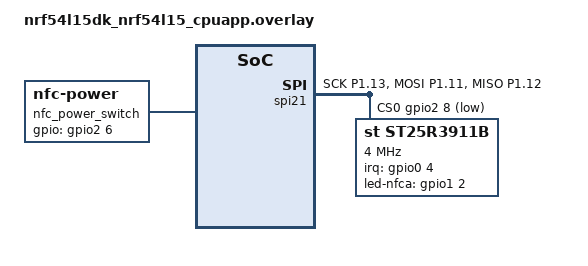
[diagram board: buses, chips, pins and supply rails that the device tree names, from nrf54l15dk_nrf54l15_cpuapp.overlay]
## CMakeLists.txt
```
#
# Copyright (c) 2025 Nordic Semiconductor ASA
#
# SPDX-License-Identifier: LicenseRef-Nordic-5-Clause
#

cmake_minimum_required(VERSION 3.20.0)

find_package(Zephyr REQUIRED HINTS $ENV{ZEPHYR_BASE})
project(door-lock-app)

list(APPEND CMAKE_MODULE_PATH ${CMAKE_CURRENT_LIST_DIR}/../cmake)

add_subdirectory(src/aliro)
add_subdirectory_ifdef(CONFIG_CHIP src/matter)
add_subdirectory_ifdef(CONFIG_DOOR_LOCK_DFU_BLE_SMP src/dfu_smp)
add_subdirectory_ifdef(CONFIG_DOOR_LOCK_BLE_NUS src/bt_nus)

file(GLOB app_sources CONFIGURE_DEPENDS src/*.cpp)
target_sources(app PRIVATE ${app_sources})
target_sources_ifdef(CONFIG_USE_SEGGER_RTT app PRIVATE src/fatal_rtt.c)
target_include_directories(app PRIVATE src)
```

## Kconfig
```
#
# Copyright (c) 2025 Nordic Semiconductor ASA
#
# SPDX-License-Identifier: LicenseRef-Nordic-5-Clause
#

mainmenu "nRF Door Lock and Access Control Add-on"

module = DOOR_LOCK_APP
module-str = NCS_DOOR_LOCK_APP
module-dep = LOG
module-help = Enables nRF Connect SDK Door Lock Application log messages.
source "$(ZEPHYR_BASE)/subsys/logging/Kconfig.template.log_config"

config DOOR_LOCK_CLI
	bool "CLI support"
	default y if (!DOOR_LOCK_RELEASE || !CHIP)
	select SHELL
	select REBOOT
	help
	  Enable support for Door Lock CLI.

config DOOR_LOCK_RELEASE
    bool "Release configuration"
    help
      In this configuration:
      Aliro stack logs are disabled.
      RFAL NFC driver logs are disabled.
      Shell commands are disabled.
      Device reset automatically on fatal error.

rsource "src/Kconfig"

rsource "Kconfig.defconfig"

# Source BLE defconfig when any BLE feature is enabled
if DOOR_LOCK_BLE_UWB || DOOR_LOCK_DFU_BLE_SMP || DOOR_LOCK_BLE_NUS
rsource "Kconfig.ble.defconfig"
endif # DOOR_LOCK_BLE_UWB || DOOR_LOCK_DFU_BLE_SMP || DOOR_LOCK_BLE_NUS

if CHIP

rsource "src/matter/Kconfig"
source "$(ZEPHYR_CONNECTEDHOMEIP_MODULE_DIR)/config/nrfconnect/chip-module/Kconfig.features"
source "$(ZEPHYR_CONNECTEDHOMEIP_MODULE_DIR)/config/nrfconnect/chip-module/Kconfig.defaults"
source "$(ZEPHYR_NRF_MODULE_DIR)/samples/matter/common/src/Kconfig"

endif # CHIP

source "Kconfig.zephyr"
```

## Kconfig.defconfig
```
#
# Copyright (c) 2025 Nordic Semiconductor ASA
#
# SPDX-License-Identifier: LicenseRef-Nordic-5-Clause
#

config BT_DEVICE_NAME
	default "AliroDL"

config TRUSTED_STORAGE
	default y

config MBEDTLS_PSA_CRYPTO_STORAGE_C
	default y

choice TRUSTED_STORAGE_BACKEND_AEAD_KEY
	default TRUSTED_STORAGE_BACKEND_AEAD_KEY_HASH_UID if SOC_SERIES_NRF52
	default TRUSTED_STORAGE_BACKEND_AEAD_KEY_DERIVE_FROM_HUK
endchoice

config HW_UNIQUE_KEY_WRITE_ON_CRYPTO_INIT
	default y if (SOC_NRF5340_CPUAPP || SOC_SERIES_NRF54L)

# required by Aliro persistent storage
config FLASH
	default y

config FLASH_MAP
	default y

config NVS
	default y if !SOC_FLASH_NRF_RRAM

config NVS_LOOKUP_CACHE_SIZE
	default 512 if NVS

config NVS_LOOKUP_CACHE_FOR_SETTINGS
	default y if SETTINGS_NVS

config ZMS
	default y if SOC_FLASH_NRF_RRAM

config ZMS_LOOKUP_CACHE_SIZE
	default 512 if SETTINGS_ZMS

config ZMS_LOOKUP_CACHE_FOR_SETTINGS
	default y if SETTINGS_ZMS

config SETTINGS
	default y

config EVENTS
	default y

config NRF_SECURITY
	default y

choice NVS_LOG_LEVEL_CHOICE
	default NVS_LOG_LEVEL_ERR
endchoice

choice ZMS_LOG_LEVEL_CHOICE
	default ZMS_LOG_LEVEL_ERR
endchoice

choice SETTINGS_LOG_LEVEL_CHOICE
	default SETTINGS_LOG_LEVEL_ERR
endchoice

choice LIBC_IMPLEMENTATION
    default PICOLIBC
endchoice

choice POSIX_SYSCONF_IMPL_CHOICE
    default POSIX_SYSCONF_IMPL_MACRO if PICOLIBC
endchoice

config SHELL_CMD_BUFF_SIZE
	default 256

if !CHIP

config MAIN_STACK_SIZE
	default 4096

config HEAP_MEM_POOL_SIZE
	default 4096

config SYSTEM_WORKQUEUE_STACK_SIZE
	default 2048

endif # !CHIP

config DOOR_LOCK_ALIRO_CRYPTO_UTILS
	default y

config DOOR_LOCK_SETTINGS_UTILS
	default y

config DOOR_LOCK_ALIRO_WORKQUEUE
	default y
```

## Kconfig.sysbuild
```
#
# Copyright (c) 2025 Nordic Semiconductor ASA
#
# SPDX-License-Identifier: LicenseRef-Nordic-5-Clause
#

#### Radio core selection
config NRF_DEFAULT_IPC_RADIO
	default y

# Enable Bluetooth serialization to network core
# This config automatically pulls in the `overlay-bt_hci_ipc.conf` in the ipc_radio image
config NETCORE_IPC_RADIO_BT_HCI_IPC
	default y if SOC_SERIES_NRF53

#### Bootloader
choice BOOTLOADER
    default BOOTLOADER_MCUBOOT
endchoice

if BOOTLOADER_MCUBOOT

choice MCUBOOT_MODE
    default MCUBOOT_MODE_OVERWRITE_ONLY
endchoice

choice BOOT_SIGNATURE_TYPE
	default BOOT_SIGNATURE_TYPE_ECDSA_P256
endchoice

config PM_EXTERNAL_FLASH_MCUBOOT_SECONDARY
    default y

if SOC_SERIES_NRF53

config SECURE_BOOT_NETCORE
    default y

config NETCORE_APP_UPDATE
    default y

config MCUBOOT_NRF53_MULTI_IMAGE_UPDATE
    default y

endif # SOC_SERIES_NRF53

endif # BOOTLOADER_MCUBOOT

if MATTER

config WIFI_NRF70
	default y if BOARD_NRF7002DK

# Enable IEEE802.15.4 serialization to network core
# This config automatically pulls in the `overlay-802154.conf` in the ipc_radio image
config NETCORE_IPC_RADIO_IEEE802154
	default y if SOC_SERIES_NRF53 && !WIFI_NRF70

if BOOTLOADER_MCUBOOT

#### DFU multi-image support
config DFU_MULTI_IMAGE_PACKAGE_BUILD
	default y

config DFU_MULTI_IMAGE_PACKAGE_APP
	default y

#### DFU network core configuration
if SOC_SERIES_NRF53

config DFU_MULTI_IMAGE_PACKAGE_NET
	default y

endif # SOC_SERIES_NRF53

if BOARD_NRF54L15DK || BOARD_NRF54LM20DK

# Disable checking the external drivers for nRF54L15 and nRF54LM20 DKs.
config PM_OVERRIDE_EXTERNAL_DRIVER_CHECK
	default y

endif # BOARD_NRF54L15DK || BOARD_NRF54LM20DK

endif # BOOTLOADER_MCUBOOT

#### Enable generating factory data
config MATTER_FACTORY_DATA_GENERATE
	default y

endif # MATTER

source "share/sysbuild/Kconfig"
```

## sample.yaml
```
sample:
  description: Door lock sample application
  name: ncs-door-lock-sample
common:
  sysbuild: true
  build_only: true
tests:
  app.door_lock.nfc-ble-uwb.bt_nus-dfu_smp-exp_fast-step_up:
    platform_allow: &id001
    - nrf5340dk/nrf5340/cpuapp
    integration_platforms: *id001
    extra_args:
    - app_SNIPPET="uwb_qm35;dfu_smp;bt_nus"
    - CONFIG_DFU_SMP_LOG_LEVEL_DBG=y
    - CONFIG_DOOR_LOCK_EXPEDITED_FAST_PHASE=y
    - CONFIG_DOOR_LOCK_STEP_UP_PHASE=y
  app.door_lock.nfc-ble-uwb.dfu_smp-matter-exp_fast-step_up:
    platform_allow: &id002
    - nrf54lm20dk/nrf54lm20a/cpuapp
    integration_platforms: *id002
    extra_args:
    - app_SNIPPET="uwb_qm35"
    - SNIPPET=matter
    - CONFIG_CHIP_DFU_OVER_BT_SMP=y
    - CONFIG_DOOR_LOCK_EXPEDITED_FAST_PHASE=y
    - CONFIG_DOOR_LOCK_STEP_UP_PHASE=y
  app.door_lock.nfc-ble-uwb.dfu_smp-matter-step_up:
    platform_allow: *id002
    integration_platforms: *id002
    extra_args:
    - app_SNIPPET="uwb_qm35"
    - SNIPPET=matter
    - CONFIG_CHIP_DFU_OVER_BT_SMP=y
    - CONFIG_DOOR_LOCK_EXPEDITED_FAST_PHASE=n
    - CONFIG_DOOR_LOCK_STEP_UP_PHASE=y
  app.door_lock.nfc.dfu_smp-matter-step_up:
    platform_allow: &id003
    - nrf54l15dk/nrf54l15/cpuapp
    - nrf52840dk/nrf52840
    - nrf5340dk/nrf5340/cpuapp
    integration_platforms: *id003
    extra_args:
    - SNIPPET=matter
    - CONFIG_CHIP_DFU_OVER_BT_SMP=y
    - CONFIG_DOOR_LOCK_EXPEDITED_FAST_PHASE=n
    - CONFIG_DOOR_LOCK_STEP_UP_PHASE=y
  app.door_lock.nfc-ble-uwb.dfu_smp-step_up:
    platform_allow: *id002
    integration_platforms: *id002
    extra_args:
    - app_SNIPPET="uwb_qm35;dfu_smp"
    - CONFIG_DFU_SMP_LOG_LEVEL_DBG=y
    - CONFIG_DOOR_LOCK_EXPEDITED_FAST_PHASE=n
    - CONFIG_DOOR_LOCK_STEP_UP_PHASE=y
  app.door_lock.nfc.dfu_smp-step_up:
    platform_allow: *id003
    integration_platforms: *id003
    extra_args:
    - app_SNIPPET=dfu_smp
    - CONFIG_DFU_SMP_LOG_LEVEL_DBG=y
    - CONFIG_DOOR_LOCK_EXPEDITED_FAST_PHASE=n
    - CONFIG_DOOR_LOCK_STEP_UP_PHASE=y
  app.door_lock.nfc-ble-uwb.exp_fast-step_up-ca_cert:
    platform_allow: &id004
    - nrf5340dk/nrf5340/cpuapp
    - nrf54lm20dk/nrf54lm20a/cpuapp
    integration_platforms: *id004
    extra_args:
    - app_SNIPPET=uwb_qm35
    - CONFIG_DOOR_LOCK_EXPEDITED_FAST_PHASE=y
    - CONFIG_DOOR_LOCK_STEP_UP_PHASE=y
    - CONFIG_DOOR_LOCK_CREDENTIAL_ISSUER_CA=y
    - CONFIG_DOOR_LOCK_READER_CERTIFICATE=y
  app.door_lock.nfc.exp_fast-step_up-ca_cert:
    platform_allow: &id005
    - nrf52840dk/nrf52840
    - nrf5340dk/nrf5340/cpuapp
    - nrf54l15dk/nrf54l15/cpuapp
    - nrf54lm20dk/nrf54lm20a/cpuapp
    integration_platforms: *id005
    extra_args:
    - CONFIG_DOOR_LOCK_EXPEDITED_FAST_PHASE=y
    - CONFIG_DOOR_LOCK_STEP_UP_PHASE=y
    - CONFIG_DOOR_LOCK_CREDENTIAL_ISSUER_CA=y
    - CONFIG_DOOR_LOCK_READER_CERTIFICATE=y
  smoke.door_lock.nfc-ble-uwb.dfu_smp-matter-exp_fast-step_up:
    platform_allow: *id002
    integration_platforms: *id002
    extra_args:
    - app_SNIPPET="uwb_qm35"
    - SNIPPET=matter
    - CONFIG_CHIP_DFU_OVER_BT_SMP=y
    - CONFIG_DOOR_LOCK_EXPEDITED_FAST_PHASE=y
    - CONFIG_DOOR_LOCK_STEP_UP_PHASE=y
  smoke.door_lock.nfc-ble-uwb:
    platform_allow: *id002
    integration_platforms: *id002
    extra_args:
    - app_SNIPPET=uwb_qm35
    - CONFIG_DOOR_LOCK_EXPEDITED_FAST_PHASE=n
    - CONFIG_DOOR_LOCK_STEP_UP_PHASE=n
  smoke.door_lock.nfc.bt_nus-step_up:
    platform_allow: &id006
    - nrf52840dk/nrf52840
    integration_platforms: *id006
    extra_args:
    - app_SNIPPET=bt_nus
    - CONFIG_DOOR_LOCK_EXPEDITED_FAST_PHASE=n
    - CONFIG_DOOR_LOCK_STEP_UP_PHASE=y
```

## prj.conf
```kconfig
#
# Copyright (c) 2025 Nordic Semiconductor ASA
#
# SPDX-License-Identifier: LicenseRef-Nordic-5-Clause
#

#
# Aliro
#

CONFIG_NCS_ALIRO=y
CONFIG_DOOR_LOCK_CERTIFICATION_TEST_PROVISIONING=y
CONFIG_DOOR_LOCK_EXPEDITED_FAST_PHASE=y
CONFIG_DOOR_LOCK_STEP_UP_PHASE=y
CONFIG_DOOR_LOCK_CREDENTIAL_ISSUER_CA=y

# Basic system configuration
CONFIG_CPP=y
CONFIG_STD_CPP17=y
CONFIG_REQUIRES_FULL_LIBCPP=y
CONFIG_RESET_ON_FATAL_ERROR=n
CONFIG_ASSERT=y
CONFIG_MPU_STACK_GUARD=y
CONFIG_SYS_HEAP_RUNTIME_STATS=y

# Stack sizes
CONFIG_SYSTEM_WORKQUEUE_STACK_SIZE=3072
CONFIG_SHELL_STACK_SIZE=4096

# Logging
CONFIG_CONSOLE=y
CONFIG_LOG=y
CONFIG_LOG_MODE_DEFERRED=y
CONFIG_LOG_RATELIMIT=y
CONFIG_DOOR_LOCK_RFAL_LOG_LEVEL_DBG=y
CONFIG_DOOR_LOCK_BLE_LOG_LEVEL_INF=y
CONFIG_DOOR_LOCK_UWB_LOG_LEVEL_INF=y
CONFIG_USE_SEGGER_RTT=n
CONFIG_LOG_BACKEND_RTT=n
CONFIG_LOG_BACKEND_SHOW_COLOR=n
CONFIG_DOOR_LOCK_APP_LOG_LEVEL_INF=y
CONFIG_BT_HCI_CORE_LOG_LEVEL_ERR=y
CONFIG_BT_HCI_DRIVER_LOG_LEVEL_ERR=y
CONFIG_MATTER_LOG_LEVEL_INF=y
CONFIG_CHIP_APP_LOG_LEVEL=3

# Disable unused shell features
CONFIG_SHELL_VT100_COLORS=n
CONFIG_SHELL_HISTORY=n
CONFIG_SHELL_WILDCARD=n

# Set shell configuration
CONFIG_SHELL_MINIMAL=n
CONFIG_SHELL_DEVICE_HELPERS=y

# Increase shell buffer sizes
CONFIG_SHELL_BACKEND_SERIAL_RX_RING_BUFFER_SIZE=2048
CONFIG_SHELL_BACKEND_SERIAL_TX_RING_BUFFER_SIZE=1024

# Adjust logs queue size
CONFIG_SHELL_BACKEND_SERIAL_LOG_MESSAGE_QUEUE_SIZE=2048

# Workaournd for Murata issue:
# https://github.com/csa-access-control/aliro-actuator/issues/114
CONFIG_BT_GAP_AUTO_UPDATE_CONN_PARAMS=n
CONFIG_BT_CTLR_TX_PWR_PLUS_8=y

# Override default values to match Aliro requirements for APDU message sizes.
CONFIG_BT_BUF_ACL_RX_SIZE=271
CONFIG_BT_BUF_ACL_TX_SIZE=271
CONFIG_BT_L2CAP_TX_MTU=267

#
# Matter
#

CONFIG_CHIP_LIB_SHELL=y
CONFIG_NCS_SAMPLE_MATTER_TEST_SHELL=y

# 3003
CONFIG_CHIP_DEVICE_DISCRIMINATOR=0xBBB
CONFIG_CHIP_DEVICE_SPAKE2_PASSCODE=30033003

# 32774 == 0x8006 (example lock-app)
CONFIG_CHIP_DEVICE_PRODUCT_ID=32774

# Suspend devices when the CPU goes into sleep
CONFIG_PM_DEVICE=y
CONFIG_PM_DEVICE_RUNTIME=y

# Try to disable unused RAM blocks to reduce power consumption
CONFIG_RAM_POWER_DOWN_LIBRARY=y

CONFIG_LOCK_MAX_CREDENTIAL_LENGTH=65
```

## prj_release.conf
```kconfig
#
# Copyright (c) 2025 Nordic Semiconductor ASA
#
# SPDX-License-Identifier: LicenseRef-Nordic-5-Clause
#

#
# Aliro
#

CONFIG_NCS_ALIRO=y

CONFIG_NCS_ALIRO_RELEASE=y

CONFIG_DOOR_LOCK_RELEASE=y

# Basic system configuration
CONFIG_CPP=y
CONFIG_STD_CPP17=y
CONFIG_REQUIRES_FULL_LIBCPP=y

# Stack sizes
CONFIG_SYSTEM_WORKQUEUE_STACK_SIZE=3072

#logging
CONFIG_LOG=n
CONFIG_USE_SEGGER_RTT=n

# Workaround for Murata issue:
# https://github.com/aliro-access-control/aliro-actuator/issues/114
CONFIG_BT_GAP_AUTO_UPDATE_CONN_PARAMS=n

# Override default values to match Aliro requirements for APDU message sizes.
CONFIG_BT_BUF_ACL_RX_SIZE=271
CONFIG_BT_BUF_ACL_TX_SIZE=271
CONFIG_BT_L2CAP_TX_MTU=267

#
# Matter
#

# 3003
CONFIG_CHIP_DEVICE_DISCRIMINATOR=0xBBB
CONFIG_CHIP_DEVICE_SPAKE2_PASSCODE=30033003

# 32774 == 0x8006 (example lock-app)
CONFIG_CHIP_DEVICE_PRODUCT_ID=32774

# Suspend devices when the CPU goes into sleep
CONFIG_PM_DEVICE=y

# Try to disable unused RAM blocks to reduce power consumption
CONFIG_RAM_POWER_DOWN_LIBRARY=y

CONFIG_DOOR_LOCK_MATTER_ACCESS_MAX_CREDENTIAL_LENGTH=65

CONFIG_ASSERT=n
CONFIG_ASSERT_VERBOSE=n
CONFIG_ASSERT_NO_FILE_INFO=y

CONFIG_RESET_ON_FATAL_ERROR=y

CONFIG_UART_CONSOLE=n
CONFIG_SERIAL=n
CONFIG_SHELL=n
CONFIG_NCS_SAMPLE_MATTER_TEST_SHELL=n
CONFIG_LOG_MODE_MINIMAL=n
CONFIG_SHELL_STACK_SIZE=4096

CONFIG_THREAD_NAME=n
CONFIG_BOOT_BANNER=n
CONFIG_PRINTK=n
CONFIG_PRINTK_SYNC=n
CONFIG_CHIP_LIB_SHELL=n
CONFIG_OPENTHREAD_SHELL=n
```

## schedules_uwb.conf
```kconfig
#
# Copyright (c) 2026 Nordic Semiconductor ASA
#
# SPDX-License-Identifier: LicenseRef-Nordic-5-Clause
#

# Switch the zap file path
CONFIG_NCS_SAMPLE_MATTER_ZAP_FILE_PATH="${APPLICATION_CONFIG_DIR}/src/matter/zap_uwb_schedules/lock.zap"

# Enable schedules and read client configuration
CONFIG_LOCK_SCHEDULES=y
CONFIG_LOCK_ENABLE_DEBUG=y
CONFIG_CHIP_ENABLE_READ_CLIENT=y
```

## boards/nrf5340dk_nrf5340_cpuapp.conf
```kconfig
#
# Copyright (c) 2025 Nordic Semiconductor ASA
#
# SPDX-License-Identifier: LicenseRef-Nordic-5-Clause
#

# Enable BLE Transport Protocol
CONFIG_ALIRO_BLE_TP=y
```

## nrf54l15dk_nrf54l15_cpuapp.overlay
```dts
/*
 * Copyright (c) 2025 Nordic Semiconductor ASA
 *
 * SPDX-License-Identifier: LicenseRef-Nordic-5-Clause
 */

/{
	/* For convenience disable buttons for now to avoid collision with interrupt and SCK pins for NFC tag reader. */
	/delete-node/ buttons;

	aliases {
		/delete-property/ sw0;
		/delete-property/ sw1;
		/delete-property/ sw2;
		/delete-property/ sw3;
	};
};

&spi21 {
	compatible = "nordic,nrf-spim";
	status = "okay";
	cs-gpios = <&gpio2 8 GPIO_ACTIVE_LOW>;

	pinctrl-0 = <&spi21_default>;
	pinctrl-1 = <&spi21_sleep>;
	pinctrl-names = "default", "sleep";
	st25r3911b@0 {
		compatible = "st,st25r3911b";
		reg = <0>;
		spi-max-frequency = <DT_FREQ_M(4)>;
		irq-gpios = <&gpio0 4 GPIO_ACTIVE_HIGH>;
		led-nfca-gpios = <&gpio1 2 GPIO_ACTIVE_HIGH>;
	};
};

&pinctrl {
	spi21_default: spi21_default {
		group1 {
			psels = <NRF_PSEL(SPIM_SCK, 1, 13)>,
			        <NRF_PSEL(SPIM_MOSI, 1, 11)>,
			        <NRF_PSEL(SPIM_MISO, 1, 12)>;
		};
	};

	spi21_sleep: spi21_sleep {
		group1 {
			psels = <NRF_PSEL(SPIM_SCK, 1, 13)>,
			        <NRF_PSEL(SPIM_MOSI, 1, 11)>,
			        <NRF_PSEL(SPIM_MISO, 1, 12)>;
			low-power-enable;
		};
	};
};

/ {
	nfc_power_switch: nfc_power_switch {
		status = "okay";
		compatible = "nfc-power";
		gpios = <&gpio2 6 ( GPIO_ACTIVE_HIGH | GPIO_PULL_DOWN )>;
	};
};
```

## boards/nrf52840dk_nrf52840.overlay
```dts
/*
 * Copyright (c) 2025 Nordic Semiconductor ASA
 *
 * SPDX-License-Identifier: LicenseRef-Nordic-5-Clause
 */

&pinctrl {
	spi0_default_alt: spi0_default_alt {
		group1 {
			psels = <NRF_PSEL(SPIM_SCK, 1, 15)>,
			        <NRF_PSEL(SPIM_MOSI, 1, 13)>,
			        <NRF_PSEL(SPIM_MISO, 1, 14)>;
		};
	};

	spi0_sleep_alt: spi0_sleep_alt {
		group1 {
			psels = <NRF_PSEL(SPIM_SCK, 1, 15)>,
			        <NRF_PSEL(SPIM_MOSI, 1, 13)>,
			        <NRF_PSEL(SPIM_MISO, 1, 14)>;
			low-power-enable;
		};
	};
};

&spi0 {
	compatible = "nordic,nrf-spi";
	status = "okay";
	cs-gpios = <&gpio1 12 GPIO_ACTIVE_LOW>;

	pinctrl-0 = <&spi0_default_alt>;
	pinctrl-1 = <&spi0_sleep_alt>;
	pinctrl-names = "default", "sleep";
	nucleo_nfc@0 {
		compatible = "x-nucleo-nfc";
		reg = <0>;
		spi-max-frequency = <DT_FREQ_M(8)>;
		irq-gpios = <&gpio0 3 GPIO_ACTIVE_HIGH>;
		reset-gpios = <&gpio1 10 (GPIO_ACTIVE_LOW | GPIO_PULL_DOWN)>;
	};
};

&spi1 {
	status = "disabled";
};

&spi2 {
	status = "disabled";
};

&spi3 {
	status = "disabled";
};

/ {
	chosen {
		nordic,pm-ext-flash = &mx25r64;
	};

	psa_rng: psa-rng {
		compatible = "zephyr,psa-crypto-rng";
		status = "okay";
	};

	aliases {
		lock-sim-indicator = &led1; /* green LED2 on nRF52840DK */
	};
};

&mx25r64 {
	status = "okay";
};

&gpio0 {
	status = "okay";
	/* Use PORT event rather than GPIOTE IN event, to save power */
	sense-edge-mask = <0x00000008>; /* P0.03 */
};
```

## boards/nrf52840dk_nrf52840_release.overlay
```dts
/*
 * Copyright (c) 2025 Nordic Semiconductor ASA
 *
 * SPDX-License-Identifier: LicenseRef-Nordic-5-Clause
 */

#include "nrf52840dk_nrf52840.overlay"

&uart1 {
	status = "disabled";
};

&adc {
	status = "disabled";
};

&i2c0 {
	status = "disabled";
};

&i2c1 {
	status = "disabled";
};

&pwm0 {
	status = "disabled";
};

&nfct {
	status = "disabled";
};

&usbd {
	status = "disabled";
};
```

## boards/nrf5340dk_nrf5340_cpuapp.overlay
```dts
/*
 * Copyright (c) 2025 Nordic Semiconductor ASA
 *
 * SPDX-License-Identifier: LicenseRef-Nordic-5-Clause
 */

/ {
	chosen {
		nordic,pm-ext-flash = &mx25r64;
	};

	aliases {
		lock-sim-indicator = &led1; /* green LED2 on nRF5340DK */
	};
};

&pinctrl {
	spi1_default_alt: spi1_default_alt {
		group1 {
			psels = <NRF_PSEL(SPIM_SCK, 1, 15)>,
			        <NRF_PSEL(SPIM_MOSI, 1, 13)>,
			        <NRF_PSEL(SPIM_MISO, 1, 14)>;
		};
	};

	spi1_sleep_alt: spi1_sleep_alt {
		group1 {
			psels = <NRF_PSEL(SPIM_SCK, 1, 15)>,
			        <NRF_PSEL(SPIM_MOSI, 1, 13)>,
			        <NRF_PSEL(SPIM_MISO, 1, 14)>;
			low-power-enable;
		};
	};

};

&spi1 {
	compatible = "nordic,nrf-spim";
	status = "okay";
	cs-gpios = <&gpio1 12 GPIO_ACTIVE_LOW>;

	pinctrl-0 = <&spi1_default_alt>;
	pinctrl-1 = <&spi1_sleep_alt>;
	pinctrl-names = "default", "sleep";
	nucleo_nfc@0 {
		compatible = "x-nucleo-nfc";
		reg = <0>;
		spi-max-frequency = <DT_FREQ_M(8)>;
		irq-gpios = <&gpio0 4 GPIO_ACTIVE_HIGH>;
		reset-gpios = <&gpio1 10 (GPIO_ACTIVE_LOW | GPIO_PULL_DOWN)>;
	};
};

&mx25r64 {
	status = "okay";
};

&gpio0 {
	status = "okay";
	/* Use PORT event rather than GPIOTE IN event, to save power */
	sense-edge-mask = <0x00000010>; /* P0.04 */
};
```

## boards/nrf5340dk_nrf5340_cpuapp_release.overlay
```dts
/*
 * Copyright (c) 2025 Nordic Semiconductor ASA
 *
 * SPDX-License-Identifier: LicenseRef-Nordic-5-Clause
 */

#include "nrf5340dk_nrf5340_cpuapp.overlay"

&uart1 {
	status = "disabled";
};

&adc {
	status = "disabled";
};

&i2c1 {
	status = "disabled";
};

&pwm0 {
	status = "disabled";
};

&nfct {
	status = "disabled";
};

&usbd {
	status = "disabled";
};

&spi4 {
	status = "disabled";
};
```

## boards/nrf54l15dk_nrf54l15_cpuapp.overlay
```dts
/*
 * Copyright (c) 2025 Nordic Semiconductor ASA
 *
 * SPDX-License-Identifier: LicenseRef-Nordic-5-Clause
 */

/ {
	/* Disable buttons to avoid collision with interrupt and SCK pins for NFC tag reader.
	 * It also allows to use the button with the same label (1) on all supported dev kits.
	 */
	buttons {
		/delete-node/ button_0;
		/delete-node/ button_3;
	};

	leds {
		/delete-node/ led_0;
	};

	aliases {
		/delete-property/ sw0;
		/delete-property/ sw3;
		/delete-property/ led0;
		/delete-property/ mcuboot-led0;
		mcuboot-button0 = &button1;
		lock-sim-indicator = &led2; /* green LED2 on nRF54L15DK */
	};

	nfc_power_switch: nfc_power_switch {
		status = "okay";
		compatible = "nfc-power-control";
		gpios = <&gpio2 6 GPIO_ACTIVE_HIGH>;
	};

	chosen {
		nordic,pm-ext-flash = &mx25r64;
	};
};

&pinctrl {
	spi21_default: spi21_default {
		group1 {
			psels = <NRF_PSEL(SPIM_SCK, 1, 13)>,
				<NRF_PSEL(SPIM_MOSI, 1, 11)>,
				<NRF_PSEL(SPIM_MISO, 1, 12)>;
		};
	};

	spi21_sleep: spi21_sleep {
		group1 {
			psels = <NRF_PSEL(SPIM_SCK, 1, 13)>,
				<NRF_PSEL(SPIM_MOSI, 1, 11)>,
				<NRF_PSEL(SPIM_MISO, 1, 12)>;
			low-power-enable;
		};
	};
};

&spi21 {
	compatible = "nordic,nrf-spim";
	status = "okay";
	cs-gpios = <&gpio2 8 GPIO_ACTIVE_LOW>;

	pinctrl-0 = <&spi21_default>;
	pinctrl-1 = <&spi21_sleep>;
	pinctrl-names = "default", "sleep";

	nucleo_nfc@0 {
		compatible = "x-nucleo-nfc";
		reg = <0>;
		spi-max-frequency = <DT_FREQ_M(8)>;
		spi-cs-setup-delay-ns = <1000>;
		spi-cs-hold-delay-ns = <1000>;
		irq-gpios = <&gpio0 4 GPIO_ACTIVE_HIGH>;
	};
};

&gpio0 {
	status = "okay";
};

&gpio1 {
	status = "okay";
};

&gpio2 {
	status = "okay";
};

/* restore full RRAM and SRAM space - by default some parts are dedicated to FLRP */
&cpuapp_rram {
	reg = <0x0 DT_SIZE_K(1524)>;
};

&mx25r64 {
	status = "okay";
};

&gpio0 {
	status = "okay";
	/* Use PORT event rather than GPIOTE IN event, to save power */
	sense-edge-mask = <0x00000010>; /* P0.04 */
};
```

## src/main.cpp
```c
/*
 * Copyright (c) 2025 Nordic Semiconductor ASA
 *
 * SPDX-License-Identifier: LicenseRef-Nordic-5-Clause
 */

#ifdef CONFIG_CHIP
#include "matter/init.h"
#else // CONFIG_CHIP
#include "aliro/init.h"
#include "aliro/lock_sim/lock_sim_instance.h"
#endif // CONFIG_CHIP

#include "aliro/utils.h"

#include <crypto_utils/crypto_utils.h>
#include <zephyr/logging/log.h>

#include <cstdlib>

#ifdef CONFIG_DOOR_LOCK_DFU_BLE_SMP
#include "dfu_smp_manager.h"
#endif // CONFIG_DOOR_LOCK_DFU_BLE_SMP

#ifdef CONFIG_DOOR_LOCK_BLE_NUS

#include "bt_nus/bt_nus.h"
#endif // CONFIG_DOOR_LOCK_BLE_NUS

#ifdef CONFIG_DOOR_LOCK_BLE_UWB
#include "access_manager.h"
#include "uwb_impl.h"
#endif // CONFIG_DOOR_LOCK_BLE_UWB

#ifdef CONFIG_CHIP
LOG_MODULE_REGISTER(app, CONFIG_CHIP_APP_LOG_LEVEL);
#else // CONFIG_CHIP
LOG_MODULE_REGISTER(door_lock_app, CONFIG_DOOR_LOCK_APP_LOG_LEVEL);
#endif // CONFIG_CHIP

int main()
{
	auto error = DoorLock::CryptoUtils::Init();
	VerifyOrDie(error == ALIRO_NO_ERROR, "Failed to initialize crypto utils");

#ifdef CONFIG_DOOR_LOCK_BLE_UWB

	constexpr Aliro::Uwb::UltraWideBandImpl::Callbacks uwbCallbacks{
		.mRangingData =
			[](Aliro::Uwb::UltraWideBandImpl::SessionContextHandle sessionContext,
			   const Aliro::UwbRangingData &uwbData) {
				Aliro::AccessManagerInstance().HandleRangingSessionData(sessionContext, uwbData);
			},
		.mRangingSessionStateChanged =
			[](Aliro::Uwb::UltraWideBandImpl::SessionContextHandle sessionContext,
			   Aliro::RangingSessionState state) {
				Aliro::AccessManagerInstance().HandleRangingSessionStateChanged(sessionContext, state);
			}
	};

	error = Aliro::Uwb::UltraWideBandImpl::Instance().Init(uwbCallbacks);
	if (error == ALIRO_ERROR_NOT_IMPLEMENTED) {
		LOG_INF("UWB is not implemented");
	} else if (error != ALIRO_NO_ERROR) {
		LOG_ERR("Failed to initialize UWB module: %d", error.ToInt());
	}

#endif // CONFIG_DOOR_LOCK_BLE_UWB

#ifdef CONFIG_CHIP

	int err = StartMatter();
	VerifyOrDie(err == EXIT_SUCCESS, "Failed to start Matter");

#else // CONFIG_CHIP

	int err = AliroInit();
	VerifyOrDie(err == EXIT_SUCCESS, "Failed to initialize Aliro");

#ifdef CONFIG_DOOR_LOCK_DFU_BLE_SMP

	Aliro::Dfu::SmpManager::Instance().Init();
	Aliro::Dfu::SmpManager::Instance().ConfirmNewImage();

#endif // CONFIG_DOOR_LOCK_DFU_BLE_SMP

#ifdef CONFIG_DOOR_LOCK_BLE_NUS

	Aliro::BtNus::NUSService::Instance().RegisterCommand(
		"Unlock", strlen("Unlock"),
		[](void *context) {
			LOG_INF("Unlock command received");
			Aliro::LockSimInstance().Unlock(Aliro::OperationSource::Unspecified);
		},
		nullptr);

	Aliro::BtNus::NUSService::Instance().RegisterCommand(
		"Lock", strlen("Lock"),
		[](void *context) {
			LOG_INF("Lock command received");
			Aliro::LockSimInstance().Lock(Aliro::OperationSource::Unspecified);
		},
		nullptr);

	AliroError nusErr = Aliro::BtNus::NUSService::Instance().Start();
	VerifyOrDie(nusErr == ALIRO_NO_ERROR, "Failed to start NUS service");

#endif // CONFIG_DOOR_LOCK_BLE_NUS

	LOG_INF("Application started");

#endif // CONFIG_CHIP

	return EXIT_SUCCESS;
}
```

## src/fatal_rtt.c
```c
/*
 * Copyright (c) 2026 Nordic Semiconductor ASA
 *
 * SPDX-License-Identifier: LicenseRef-Nordic-5-Clause
 */

#include <stdint.h>

#include <cmsis_core.h>
#include <SEGGER_RTT.h>
#include <zephyr/arch/cpu.h>
#include <zephyr/fatal.h>
#include <zephyr/sys/util.h>

static void rtt_str(const char *str)
{
	SEGGER_RTT_WriteString(0, str);
}

static void rtt_hex(const char *name, uint32_t value)
{
	char text[] = "0x00000000\n";

	for (int i = 0; i < 8; i++) {
		uint8_t nibble = (value >> ((7 - i) * 4)) & 0x0f;

		text[2 + i] = (nibble < 10) ? ('0' + nibble) : ('a' + nibble - 10);
	}

	rtt_str(name);
	rtt_str(text);
}

static void rtt_dec(const char *name, unsigned int value)
{
	char digits[11];
	int pos = ARRAY_SIZE(digits);

	digits[--pos] = '\0';
	if (value == 0) {
		digits[--pos] = '0';
	} else {
		while (value > 0 && pos > 0) {
			digits[--pos] = '0' + (value % 10);
			value /= 10;
		}
	}

	rtt_str(name);
	rtt_str(&digits[pos]);
	rtt_str("\n");
}

void k_sys_fatal_error_handler(unsigned int reason, const struct arch_esf *esf)
{
	SEGGER_RTT_Init();
	rtt_str("\n[FATAL_RTT] Zephyr fatal handler\n");
	rtt_dec("[FATAL_RTT] reason=", reason);

	if (esf != NULL) {
		rtt_hex("[FATAL_RTT] r0  = ", esf->basic.r0);
		rtt_hex("[FATAL_RTT] r1  = ", esf->basic.r1);
		rtt_hex("[FATAL_RTT] r2  = ", esf->basic.r2);
		rtt_hex("[FATAL_RTT] r3  = ", esf->basic.r3);
		rtt_hex("[FATAL_RTT] r12 = ", esf->basic.r12);
		rtt_hex("[FATAL_RTT] lr  = ", esf->basic.lr);
		rtt_hex("[FATAL_RTT] pc  = ", esf->basic.pc);
		rtt_hex("[FATAL_RTT] xpsr= ", esf->basic.xpsr);
	} else {
		rtt_str("[FATAL_RTT] esf=NULL\n");
	}

	rtt_hex("[FATAL_RTT] CFSR= ", SCB->CFSR);
	rtt_hex("[FATAL_RTT] HFSR= ", SCB->HFSR);
	rtt_hex("[FATAL_RTT] DFSR= ", SCB->DFSR);
	rtt_hex("[FATAL_RTT] MMFAR=", SCB->MMFAR);
	rtt_hex("[FATAL_RTT] BFAR= ", SCB->BFAR);

	(void)arch_irq_lock();
	for (;;) {
	}
}
```

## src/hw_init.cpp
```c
/*
 * Copyright (c) 2025 Nordic Semiconductor ASA
 *
 * SPDX-License-Identifier: LicenseRef-Nordic-5-Clause
 */

#include "aliro/utils.h"

#include <zephyr/devicetree.h>
#include <zephyr/drivers/gpio.h>
#include <zephyr/init.h>
#include <zephyr/kernel.h>
#include <zephyr/logging/log.h>

#include <stdlib.h>

LOG_MODULE_REGISTER(hw_init, CONFIG_NCS_DOOR_LOCK_APP_LOG_LEVEL);

static const struct gpio_dt_spec sNfcPowerSwitch = GPIO_DT_SPEC_GET(DT_NODELABEL(nfc_power_switch), gpios);

static int NfcResetPinConfigure()
{
	VerifyOrReturnStatus(gpio_is_ready_dt(&sNfcPowerSwitch), EXIT_FAILURE,
			     LOG_ERR("The NFC Power switch pin GPIO port is not ready"));

	// Configure PIN as output with high level = NFC tag is enabled by default.
	int erc = gpio_pin_configure_dt(&sNfcPowerSwitch, GPIO_OUTPUT_HIGH);
	VerifyOrReturnStatus(erc == 0, EXIT_FAILURE, LOG_ERR("Configuring GPIO pin failed: %d", erc));

	return EXIT_SUCCESS;
}

static int HardwareInit(void)
{
	return NfcResetPinConfigure();
}

SYS_INIT(HardwareInit, POST_KERNEL, CONFIG_APPLICATION_INIT_PRIORITY);
```

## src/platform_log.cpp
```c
/*
 * Copyright (c) 2025 Nordic Semiconductor ASA
 *
 * SPDX-License-Identifier: LicenseRef-Nordic-5-Clause
 */

#include "logger/platform_log.h"

#include <zephyr/logging/log.h>

#include <stdarg.h>

LOG_MODULE_REGISTER(platform, CONFIG_NCS_DOOR_LOCK_APP_LOG_LEVEL);

void AliroPlatformLogHexdump(AliroLogLevel logLevel, const void *data, size_t size, const char *str)
{
	switch (logLevel) {
	case ALIRO_LOG_LEVEL_ERROR:
		LOG_HEXDUMP_ERR(data, size, str);
		break;
	case ALIRO_LOG_LEVEL_WARN:
		LOG_HEXDUMP_WRN(data, size, str);
		break;
	case ALIRO_LOG_LEVEL_INFO:
		LOG_HEXDUMP_INF(data, size, str);
		break;
	case ALIRO_LOG_LEVEL_DEBUG:
		LOG_HEXDUMP_DBG(data, size, str);
		break;
	case ALIRO_LOG_LEVEL_NONE:
	default:
		break;
	}
}

void AliroPlatformLog(AliroLogLevel logLevel, const char *logFormat, ...)
{
#if defined(CONFIG_LOG) && !defined(CONFIG_LOG_MODE_MINIMAL)

	uint8_t platformLogLevel{ LOG_LEVEL_NONE };

	switch (logLevel) {
	case ALIRO_LOG_LEVEL_ERROR:
		platformLogLevel = LOG_LEVEL_ERR;
		break;
	case ALIRO_LOG_LEVEL_WARN:
		platformLogLevel = LOG_LEVEL_WRN;
		break;
	case ALIRO_LOG_LEVEL_INFO:
		platformLogLevel = LOG_LEVEL_INF;
		break;
	case ALIRO_LOG_LEVEL_DEBUG:
		platformLogLevel = LOG_LEVEL_DBG;
		break;
	case ALIRO_LOG_LEVEL_NONE:
	default:
		platformLogLevel = LOG_LEVEL_NONE;
	}

	va_list paramList;
	va_start(paramList, logFormat);
	log_generic(platformLogLevel, logFormat, paramList);
	va_end(paramList);

#else // defined(CONFIG_LOG) && !defined(CONFIG_LOG_MODE_MINIMAL)

	ARG_UNUSED(logLevel);
	ARG_UNUSED(logFormat);

#endif // defined(CONFIG_LOG) && !defined(CONFIG_LOG_MODE_MINIMAL)
}
```
